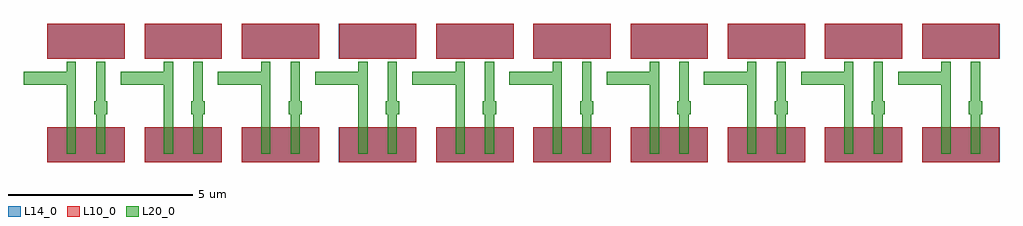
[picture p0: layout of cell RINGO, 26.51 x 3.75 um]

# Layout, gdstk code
import gdstk
lib = gdstk.Library(unit=1e-6, precision=1e-09)
def R(c, l, rs):  # rectangles x0, y0, x1, y1
    for r in rs: c.add(gdstk.rectangle(r[:2], r[2:], *l))
L10_0 = (10, 0)
L11_0 = (11, 0)
L12_0 = (12, 0)
L13_0 = (13, 0)
L14_0 = (14, 0)
L20_0 = (20, 0)

trans = lib.new_cell('TRANS')
R(trans, L10_0, [(-0.65,-0.475,0.65,0.475)])
R(trans, L14_0, [(-0.651,-0.476,0.651,0.476)])
trans.add(gdstk.FlexPath([(-0.65,-0.475),(-0.65,0.475)], 0, ends="flush", simple_path=True, layer=11, datatype=0))  # L11_0
trans.add(gdstk.FlexPath([(0.65,0.475),(0.65,-0.475)], 0, ends="flush", simple_path=True, layer=11, datatype=0))  # L11_0
trans.add(gdstk.FlexPath([(-0.65,-0.475),(-0.65,0.475)], 0, ends="flush", simple_path=True, layer=12, datatype=0))  # L12_0
trans.add(gdstk.FlexPath([(0.65,0.475),(0.65,-0.475)], 0, ends="flush", simple_path=True, layer=13, datatype=0))  # L13_0

inv2 = lib.new_cell('INV2')
R(inv2, L20_0, [(-0.525,-0.25,-0.275,2.25), (0.275,-0.25,0.525,2.25), (0.22,0.82,0.58,1.18), (-1.7,1.62,-0.4,1.98)])
inv2.add(gdstk.Reference(trans, (-0.4,0)))
inv2.add(gdstk.Reference(trans, (-0.4,2.8)))
inv2.add(gdstk.Reference(trans, (0.4,0), x_reflection=True))
inv2.add(gdstk.Reference(trans, (0.4,2.8), x_reflection=True))

ringo = lib.new_cell('RINGO')
ringo.add(gdstk.Reference(inv2, (0,0)))
ringo.add(gdstk.Reference(inv2, (2.64,0)))
ringo.add(gdstk.Reference(inv2, (5.28,0)))
ringo.add(gdstk.Reference(inv2, (7.92,0)))
ringo.add(gdstk.Reference(inv2, (10.56,0)))
ringo.add(gdstk.Reference(inv2, (13.2,0)))
ringo.add(gdstk.Reference(inv2, (15.84,0)))
ringo.add(gdstk.Reference(inv2, (18.48,0)))
ringo.add(gdstk.Reference(inv2, (21.12,0)))
ringo.add(gdstk.Reference(inv2, (23.76,0)))

lib.write_gds('RINGO.gds')
